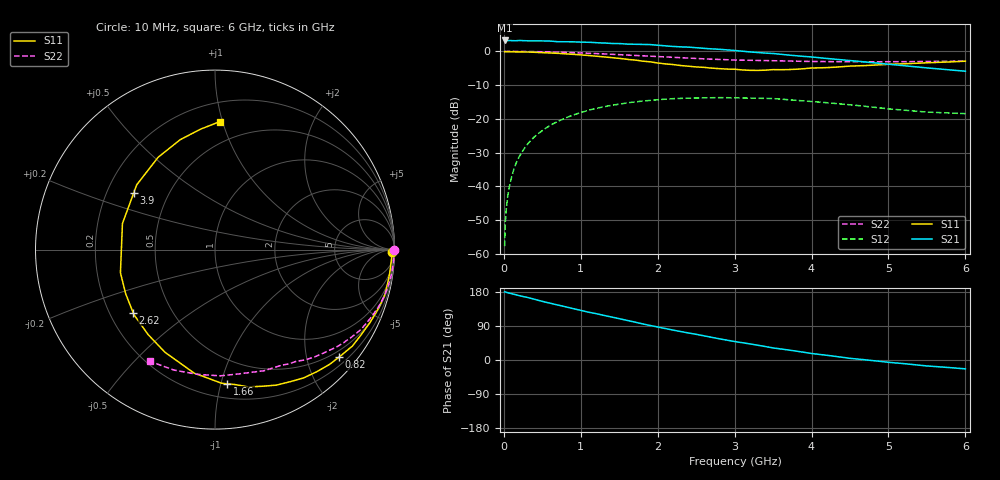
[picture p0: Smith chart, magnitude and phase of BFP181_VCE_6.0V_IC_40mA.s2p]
! Infineon Technologies  Discrete & RF Semiconductors
! BFP181
! VCE = 6.0 V,  IC =  40 mA
! Common Emitter S-Parameters:  Jan 2016
# GHz  S  MA  R  50
!  f  S11  S21  S12  S22
! GHz  MAG  ANG  MAG  ANG  MAG  ANG  MAG  ANG
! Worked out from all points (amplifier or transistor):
!   210 points, 10 MHz to 6 GHz, reference 50 ohm
!   highest |S21| = 3.2 dB at 10 MHz (marker M1)
!   |S21| within 3 dB of that: start of sweep to 3.018 GHz
!   unconditionally stable (mu >= 1): 3.798 GHz to end of sweep
!   at 185 MHz: K = 0.06, MSG = 17.5 dB, |S12| = -31.9 dB
!   at 1.52 GHz: K = 0.45, MSG = 8.9 dB, |S12| = -15.6 dB
!   at 6 GHz: K = 1.48, MAG = 2.2 dB, |S12| = -18.5 dB
!   S11 on the Smith chart (normalised r, x): 10 MHz: open; 820 MHz: 0.36, -2.63; 1.66 GHz: 0.31, -1.05; 2.62 GHz: 0.30, -0.31; 3.9 GHz: 0.31, +0.29; 6 GHz: 0.34, +0.98
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0.01  0.9866 -0.7  1.448 179.8  0.0013 84.3  0.9999 -0.2
0.02  0.9869 -1.0  1.438 179.7  0.003 88.7  0.9944 -0.4
0.03  0.9865 -1.5  1.441 179.0  0.0044 90.5  0.9957 -0.7
0.05  0.9858 -2.4  1.447 177.5  0.0071 92.1  0.9984 -1.3
0.075  0.9839 -3.8  1.444 176.3  0.0103 87.7  0.998 -1.9
0.115  0.9823 -5.9  1.438 174.3  0.0157 85.0  0.9974 -2.9
0.185  0.9809 -9.3  1.442 170.7  0.0255 83.2  0.9965 -4.5
0.3  0.9786 -15.0  1.43 165.5  0.0411 78.9  0.9937 -7.5
0.42  0.9643 -20.9  1.433 158.8  0.057 74.6  0.989 -10.4
0.82  0.914 -41.0  1.389 139.5  0.1049 60.1  0.9625 -19.9
1.02  0.8815 -51.3  1.367 130.1  0.1258 53.1  0.9439 -24.4
1.3  0.8287 -65.7  1.33 117.7  0.151 43.8  0.9159 -30.6
1.66  0.7508 -84.8  1.275 102.0  0.1757 33.2  0.8746 -37.6
2.02  0.6671 -105.6  1.229 86.2  0.1926 23.2  0.834 -43.9
2.62  0.5755 -142.4  1.102 63.2  0.2049 8.4  0.7696 -54.0
3.1  0.5299 -171.9  1.003 45.7  0.2036 -2.4  0.739 -61.7
3.5  0.5357 164.3  0.928 31.9  0.1997 -10.1  0.728 -68.0
3.9  0.5526 144.9  0.841 20.4  0.1847 -16.1  0.71 -75.5
4.1  0.5687 136.5  0.803 14.9  0.1773 -18.7  0.705 -79.4
4.5  0.6042 121.6  0.732 4.4  0.1617 -23.3  0.7039 -87.6
5.1  0.6471 105.4  0.628 -7.8  0.1375 -24.7  0.7014 -100.3
6  0.7133 87.9  0.507 -23.4  0.1194 -17.3  0.7197 -120.0
